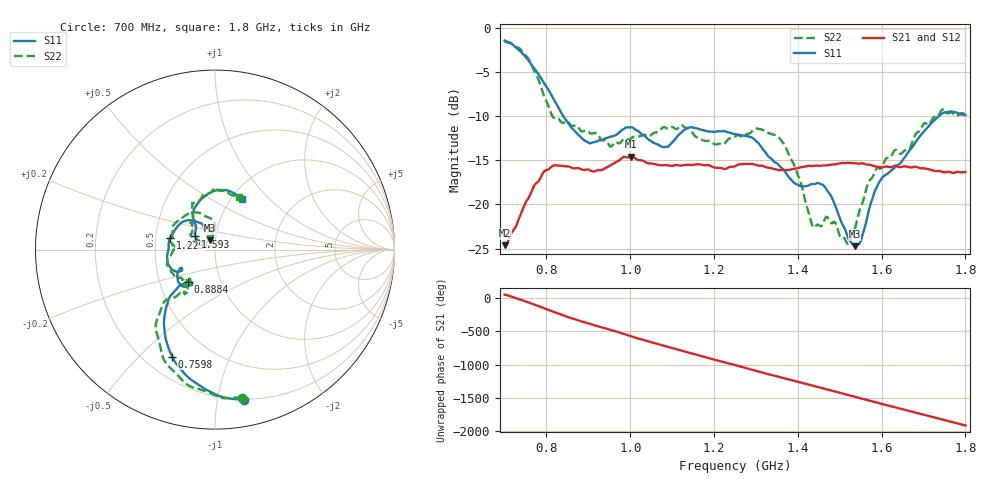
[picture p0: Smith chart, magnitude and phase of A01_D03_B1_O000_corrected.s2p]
! Created with skrf 1.9.0 (http://scikit-rf.org).
# Hz S RI R 50.0
!freq ReS11 ImS11 ReS21 ImS21 ReS12 ImS12 ReS22 ImS22
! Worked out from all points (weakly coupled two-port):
!   1601 points, 700 MHz to 1.8 GHz, reference 50 ohm
!   highest |S21| = -14.57 dB at 1.002 GHz (marker M1); lowest = -24.6 dB at 700.7 MHz (marker M2)
!   lowest |S11| = -24.7 dB at 1.535 GHz (marker M3), VSWR 1.12, Z = 47.2 + j4.92 ohm
!   |S11| at or under -10 dB: 840.2 MHz to 1.736 GHz (895.4 MHz wide, 69.5 % of centre)
!   |S22| runs from -24.5 to -1.5 dB; largest |S21 - S12| = 0.0035
!   S11 on the Smith chart (normalised r, x): 700 MHz: 0.19, -1.19; 759.8 MHz: 0.31, -0.63; 888.4 MHz: 0.70, -0.26; 1.229 GHz: 0.59, +0.08; 1.593 GHz: 0.79, +0.12; 1.8 GHz: 1.12, +0.71
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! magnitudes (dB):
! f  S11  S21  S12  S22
! 700 MHz  -1.4  -24.6  -24.4  -1.5
! 700.7 MHz  -1.4  -24.6  -24.3  -1.5
! 759.8 MHz  -3.9  -19.0  -18.9  -3.7
! 814.8 MHz  -7.9  -15.6  -15.7  -10.0
! 883.6 MHz  -12.4  -16.0  -15.9  -11.7
! 888.4 MHz  -12.7  -16.1  -16.0  -11.7
! 1.002 GHz  -11.2  -14.6  -14.7  -12.5
! 1.067 GHz  -13.2  -15.5  -15.5  -11.7
! 1.142 GHz  -11.2  -15.5  -15.5  -11.4
! 1.229 GHz  -11.7  -16.0  -15.9  -12.9
! 1.25 GHz  -12.0  -15.7  -15.6  -12.3
! 1.355 GHz  -15.6  -16.1  -16.0  -12.4
! 1.402 GHz  -17.8  -15.8  -15.8  -16.9
! 1.434 GHz  -17.7  -15.6  -15.6  -22.3
! 1.471 GHz  -18.5  -15.6  -15.5  -21.5
! 1.518 GHz  -23.6  -15.3  -15.3  -24.4
! 1.535 GHz  -24.7  -15.3  -15.3  -22.9
! 1.568 GHz  -21.0  -15.5  -15.5  -17.5
! 1.593 GHz  -17.6  -15.8  -15.7  -15.9
! 1.617 GHz  -16.4  -15.7  -15.7  -14.7
! 1.74 GHz  -9.9  -16.2  -16.2  -9.6
! 1.8 GHz  -9.9  -16.3  -16.3  -9.8
